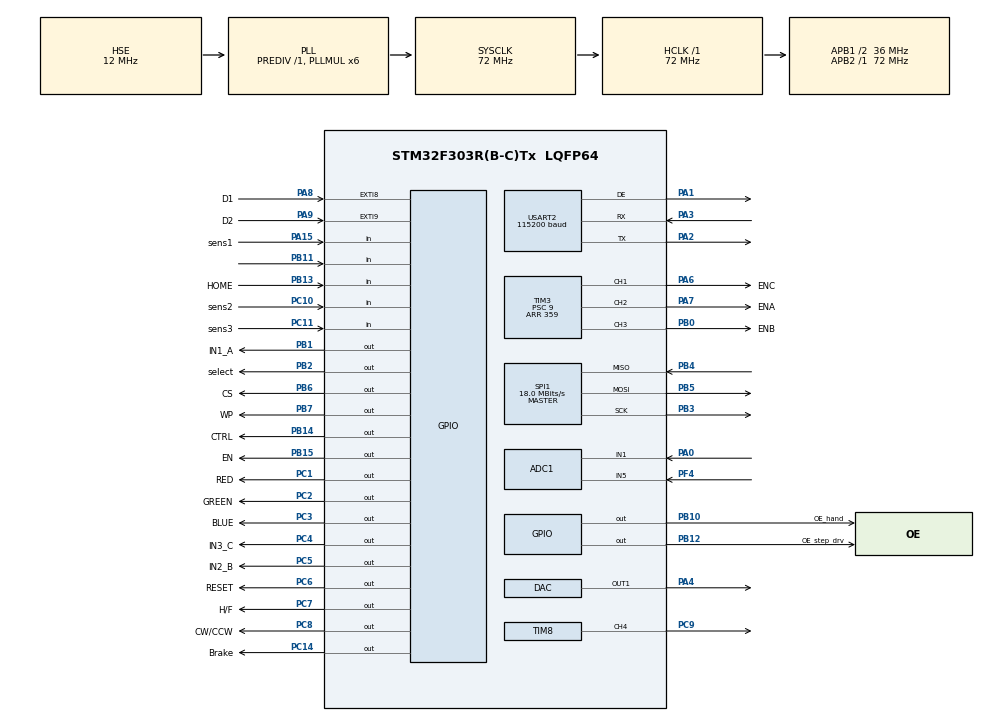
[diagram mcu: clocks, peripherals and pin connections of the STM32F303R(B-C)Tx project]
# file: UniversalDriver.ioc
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ADC1.Channel-0\#ChannelRegularConversion=ADC_CHANNEL_1
ADC1.NbrOfConversionFlag=1
ADC1.Offset-0\#ChannelRegularConversion=0
ADC1.OffsetNumber-0\#ChannelRegularConversion=ADC_OFFSET_NONE
ADC1.Rank-0\#ChannelRegularConversion=1
ADC1.SamplingTime-0\#ChannelRegularConversion=ADC_SAMPLETIME_1CYCLE_5
ADC1.master=1
FREERTOS.BinarySemaphores01=myBinarySem01,Dynamic,NULL;myBinarySem02,Dynamic,NULL;myBinarySem03,Dynamic,NULL
FREERTOS.Tasks01=mainTask,0,512,MainTask,Default,NULL,Dynamic,NULL,NULL;modBus,0,512,ModBus,Default,NULL,Dynamic,NULL,NULL
FREERTOS.configTOTAL_HEAP_SIZE=20480
Mcu.Family=STM32F3
Mcu.Name=STM32F303R(B-C)Tx
Mcu.Package=LQFP64
NVIC.EXTI9_5_IRQn=true\:5\:0\:false\:false\:true\:true\:true\:true\:true
NVIC.PriorityGroup=NVIC_PRIORITYGROUP_4
<<<<<<< HEAD
NVIC.TIM1_TRG_COM_TIM17_IRQn=true\:5\:0\:false\:false\:true\:true\:true\:true\:true
NVIC.TIM2_IRQn=true\:5\:0\:false\:false\:true\:true\:true\:true\:true
NVIC.TIM4_IRQn=true\:5\:0\:false\:false\:true\:true\:true\:true\:true
NVIC.TIM6_DAC_IRQn=true\:5\:0\:false\:false\:true\:true\:true\:true\:true
NVIC.TIM7_IRQn=true\:0\:0\:false\:false\:true\:false\:false\:true\:true
=======
NVIC.TIM1_TRG_COM_TIM17_IRQn=true\:5\:0\:false\:false\:true\:true\:true\:true
NVIC.TIM2_IRQn=true\:5\:0\:false\:false\:true\:true\:true\:true
NVIC.TIM4_IRQn=true\:5\:0\:false\:false\:true\:true\:true\:true
NVIC.TIM6_DAC_IRQn=true\:5\:0\:false\:false\:true\:true\:true\:true
NVIC.TIM7_IRQn=true\:0\:0\:false\:false\:true\:false\:false\:true
>>>>>>> main
NVIC.TimeBase=TIM7_IRQn
NVIC.TimeBaseIP=TIM7
NVIC.USART2_IRQn=true\:5\:0\:false\:false\:true\:true\:true\:true\:true
PA0.Mode=IN1-Single-Ended
PA0.Signal=ADC1_IN1
PA1.Mode=Hardware Flow Control (RS485)
PA1.Signal=USART2_DE
PA13.Mode=Serial_Wire
PA13.Signal=SYS_JTMS-SWDIO
PA14.Mode=Serial_Wire
PA14.Signal=SYS_JTCK-SWCLK
PA15.GPIO_Label=sens1
PA15.GPIO_PuPd=GPIO_PULLUP
PA15.Signal=GPIO_Input
PA2.Mode=Asynchronous
PA2.Signal=USART2_TX
PA3.Mode=Asynchronous
PA3.Signal=USART2_RX
PA4.Signal=COMP_DAC1_group
PA6.GPIO_Label=ENC
PA6.Signal=S_TIM3_CH1
PA7.GPIO_Label=ENA
PA7.Signal=S_TIM3_CH2
PA8.GPIO_Label=D1
PA8.GPIO_ModeDefaultEXTI=GPIO_MODE_IT_RISING
PA8.Signal=GPXTI8
PA9.GPIO_Label=D2
PA9.Signal=GPXTI9
PB0.GPIO_Label=ENB
PB0.Signal=S_TIM3_CH3
PB1.GPIO_Label=IN1_A
PB1.Signal=GPIO_Output
PB10.GPIO_Label=OE_hand
PB10.Signal=GPIO_Output
PB11.Signal=GPIO_Input
PB12.GPIO_Label=OE_step_drv
PB12.Signal=GPIO_Output
PB13.GPIO_Label=HOME
PB13.Signal=GPIO_Input
PB14.GPIO_Label=CTRL
PB14.Signal=GPIO_Output
PB15.GPIO_Label=EN
PB15.Signal=GPIO_Output
PB2.GPIO_Label=select
PB2.Signal=GPIO_Output
PB3.Mode=Full_Duplex_Master
PB3.Signal=SPI1_SCK
PB4.Mode=Full_Duplex_Master
PB4.Signal=SPI1_MISO
PB5.Mode=Full_Duplex_Master
PB5.Signal=SPI1_MOSI
PB6.GPIO_Label=CS
PB6.Signal=GPIO_Output
PB7.GPIO_Label=WP
PB7.Signal=GPIO_Output
PB8.Signal=CAN_RX
PB9.Signal=CAN_TX
PC1.GPIO_Label=RED
PC1.Signal=GPIO_Output
PC10.GPIO_Label=sens2
PC10.GPIO_PuPd=GPIO_PULLUP
PC10.Signal=GPIO_Input
PC11.GPIO_Label=sens3
PC11.GPIO_PuPd=GPIO_PULLUP
PC11.Signal=GPIO_Input
PC14-OSC32_IN.GPIO_Label=Brake
PC14-OSC32_IN.Signal=GPIO_Output
PC2.GPIO_Label=GREEN
PC2.Signal=GPIO_Output
PC3.GPIO_Label=BLUE
PC3.Signal=GPIO_Output
PC4.GPIO_Label=IN3_C
PC4.Signal=GPIO_Output
PC5.GPIO_Label=IN2_B
PC5.Signal=GPIO_Output
PC6.GPIO_Label=RESET
PC6.Signal=GPIO_Output
PC7.GPIO_Label=H/F
PC7.Signal=GPIO_Output
PC8.GPIO_Label=CW/CCW
PC8.Signal=GPIO_Output
PC9.Signal=S_TIM8_CH4
PF0-OSC_IN.Mode=HSE-External-Oscillator
PF0-OSC_IN.Signal=RCC_OSC_IN
PF1-OSC_OUT.Mode=HSE-External-Oscillator
PF1-OSC_OUT.Signal=RCC_OSC_OUT
PF4.Mode=IN5-Single-Ended
PF4.Signal=ADC1_IN5
ProjectManager.HeapSize=0x1000
ProjectManager.StackSize=0x400
ProjectManager.TargetToolchain=EWARM V8.32
RCC.AHBFreq_Value=72000000
RCC.APB1CLKDivider=RCC_HCLK_DIV2
RCC.APB1Freq_Value=36000000
RCC.APB1TimFreq_Value=72000000
RCC.APB2Freq_Value=72000000
RCC.APB2TimFreq_Value=72000000
RCC.CortexFreq_Value=72000000
RCC.HCLKFreq_Value=72000000
RCC.HSE_VALUE=12000000
RCC.HSI_VALUE=8000000
RCC.LSE_VALUE=32768
RCC.PLLMUL=RCC_PLL_MUL6
RCC.PLLSourceVirtual=RCC_PLLSOURCE_HSE
RCC.SYSCLKFreq_VALUE=72000000
RCC.SYSCLKSourceVirtual=RCC_SYSCLKSOURCE_PLLCLK
RCC.USBFreq_Value=72000000
RCC.Usart2ClockSelection=RCC_USART2CLKSOURCE_SYSCLK
RTC.SynchPrediv=311
SH.COMP_DAC1_group.0=DAC_OUT1,DAC_OUT1
SH.S_TIM3_CH1.0=TIM3_CH1,PWM Generation1 CH1
SH.S_TIM3_CH2.0=TIM3_CH2,PWM Generation2 CH2
SH.S_TIM3_CH3.0=TIM3_CH3,PWM Generation3 CH3
SH.S_TIM8_CH4.0=TIM8_CH4,Output Compare4 CH4
SPI1.BaudRatePrescaler=SPI_BAUDRATEPRESCALER_4
SPI1.CalculateBaudRate=18.0 MBits/s
SPI1.Direction=SPI_DIRECTION_2LINES
SPI1.Mode=SPI_MODE_MASTER
SPI1.VirtualType=VM_MASTER
TIM16.Channel=TIM_CHANNEL_1
TIM2.Period=50
TIM2.Prescaler=1
TIM3.Channel-PWM\ Generation1\ CH1=TIM_CHANNEL_1
TIM3.Channel-PWM\ Generation2\ CH2=TIM_CHANNEL_2
TIM3.Channel-PWM\ Generation3\ CH3=TIM_CHANNEL_3
TIM3.Period=359
TIM3.Prescaler=9
TIM4.Prescaler=1
TIM6.Prescaler=71
TIM8.AutoReloadPreload=TIM_AUTORELOAD_PRELOAD_ENABLE
TIM8.Channel-Output\ Compare4\ CH4=TIM_CHANNEL_4
TIM8.Channel-Output\ Compare4\ No\ Output=TIM_CHANNEL_4
TIM8.OCMode_4=TIM_OCMODE_TOGGLE
TIM8.Period=799
TIM8.Prescaler=71
TIM8.Pulse-Output\ Compare4\ CH4=100
TIM8.TIM_MasterOutputTrigger=TIM_TRGO_OC4REF
TIM8.TIM_MasterSlaveMode=TIM_MASTERSLAVEMODE_DISABLE
USART2.BaudRate=115200
USART2.VirtualMode-Asynchronous=VM_ASYNC
USART2.VirtualMode-Hardware\ Flow\ Control\ (RS485)=VM_ASYNC
VP_FREERTOS_VS_CMSIS_V1.Mode=CMSIS_V1
VP_RTC_VS_RTC_Activate.Mode=RTC_Enabled
VP_RTC_VS_RTC_Calendar.Mode=RTC_Calendar
VP_SYS_VS_tim7.Mode=TIM7
VP_TIM16_VS_ClockSourceINT.Mode=Enable_Timer
VP_TIM16_VS_no_output1.Mode=PWM Generation1 No Output
VP_TIM17_VS_ClockSourceINT.Mode=Enable_Timer
VP_TIM2_VS_ClockSourceITR.Mode=TriggerSource_ITR1
VP_TIM2_VS_ControllerModeClock.Mode=Clock Mode
VP_TIM4_VS_ClockSourceITR.Mode=TriggerSource_ITR3
VP_TIM4_VS_ControllerModeClock.Mode=Clock Mode
VP_TIM6_VS_ClockSourceINT.Mode=Enable_Timer
board=custom

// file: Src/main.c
/* USER CODE BEGIN Header */
/**
******************************************************************************
* @file           : main.c
* @brief          : Main program body
******************************************************************************
* @attention
*
* <h2><center>&copy; Copyright (c) 2020 STMicroelectronics.
* All rights reserved.</center></h2>
*
* This software component is licensed by ST under Ultimate Liberty license
* SLA0044, the "License"; You may not use this file except in compliance with
* the License. You may obtain a copy of the License at:
*                             www.st.com/SLA0044
*
******************************************************************************
*/
/* USER CODE END Header */

#include "main.h"
#include "cmsis_os.h"
#include "adc.h"
#include "dac.h"
#include "rtc.h"
#include "spi.h"
#include "tim.h"
#include "usart.h"
#include "gpio.h"

/* USER CODE BEGIN Includes */
#include "motor.hpp"
#include "flash.h"
#include "LED.h"
/* USER CODE END Includes */

/* USER CODE BEGIN PV */
extern TIM_HandleTypeDef htim3;
settings_t settings = {115200, 0x0D, 0, 0, 0, 2};
int r = 0;
                  //dac   chDac         opCount allCount freq    chFreq         accel
step_motor stepper(&hdac, DAC_CHANNEL_1, &htim2, &htim4, &htim8, TIM_CHANNEL_4, &htim6);
BLDC_motor BLDC(&htim3);

base_motor *pMotor;

led LED_S1;
led LED_S2;
led LED_S3;
/* USER CODE END PV */

void SystemClock_Config(void);
void MX_FREERTOS_Init(void);

int main(void)
{

  /* MCU Configuration--------------------------------------------------------*/

  /* Reset of all peripherals, Initializes the Flash interface and the Systick. */
  HAL_Init();

  /* Configure the system clock */
  SystemClock_Config();

  /* Initialize all configured peripherals */
  MX_GPIO_Init();
  MX_DAC_Init();
  MX_USART2_UART_Init();
  MX_ADC1_Init();
  MX_SPI1_Init();
  MX_TIM2_Init();
  MX_TIM3_Init();
  MX_TIM16_Init();
  MX_TIM17_Init();
  MX_TIM8_Init();
  MX_TIM6_Init();
  MX_TIM4_Init();
  MX_RTC_Init();
  /* USER CODE BEGIN 2 */
  Flash_ReadParams(&settings, StartSettingsAddres);

  if((settings.BaudRate == 0) | (settings.BaudRate == 0xFFFFFFFF) | (r))
    {

      settings.BaudRate = 115200;
      settings.SlaveAddress = 0x0D;
      settings.motorType = 0;
      settings.maxSpeedDiv = 2;
      settings.accel = 30;
      settings.speed = 1600;
      settings.positionX = 350;
      FLASH_WriteSettings(settings, StartSettingsAddres);
    }
   //HAL_TIM_PWM_Start_IT(&htim17, TIM_CHANNEL_1); // start PWM

   //HAL_TIM_OC_Start(&htim8, TIM_CHANNEL_4);

   pMotor = &stepper;
  /* USER CODE END 2 */

  /* Call init function for freertos objects (in freertos.c) */
  MX_FREERTOS_Init();
  /* Start scheduler */
  osKernelStart();

  /* We should never get here as control is now taken by the scheduler */
  /* Infinite loop */
   while (1)
   {

  }
}

void SystemClock_Config(void)
{
  RCC_OscInitTypeDef RCC_OscInitStruct = {0};
  RCC_ClkInitTypeDef RCC_ClkInitStruct = {0};
  RCC_PeriphCLKInitTypeDef PeriphClkInit = {0};

  /** Initializes the CPU, AHB and APB busses clocks
  */
  RCC_OscInitStruct.OscillatorType = RCC_OSCILLATORTYPE_LSI|RCC_OSCILLATORTYPE_HSE;
  RCC_OscInitStruct.HSEState = RCC_HSE_ON;
  RCC_OscInitStruct.HSEPredivValue = RCC_HSE_PREDIV_DIV1;
  RCC_OscInitStruct.HSIState = RCC_HSI_ON;
  RCC_OscInitStruct.LSIState = RCC_LSI_ON;
  RCC_OscInitStruct.PLL.PLLState = RCC_PLL_ON;
  RCC_OscInitStruct.PLL.PLLSource = RCC_PLLSOURCE_HSE;
  RCC_OscInitStruct.PLL.PLLMUL = RCC_PLL_MUL6;
  if (HAL_RCC_OscConfig(&RCC_OscInitStruct) != HAL_OK)
  {
    Error_Handler();
  }
  /** Initializes the CPU, AHB and APB busses clocks
  */
  RCC_ClkInitStruct.ClockType = RCC_CLOCKTYPE_HCLK|RCC_CLOCKTYPE_SYSCLK
                              |RCC_CLOCKTYPE_PCLK1|RCC_CLOCKTYPE_PCLK2;
  RCC_ClkInitStruct.SYSCLKSource = RCC_SYSCLKSOURCE_PLLCLK;
  RCC_ClkInitStruct.AHBCLKDivider = RCC_SYSCLK_DIV1;
  RCC_ClkInitStruct.APB1CLKDivider = RCC_HCLK_DIV2;
  RCC_ClkInitStruct.APB2CLKDivider = RCC_HCLK_DIV1;

  if (HAL_RCC_ClockConfig(&RCC_ClkInitStruct, FLASH_LATENCY_2) != HAL_OK)
  {
    Error_Handler();
  }
  PeriphClkInit.PeriphClockSelection = RCC_PERIPHCLK_USART2|RCC_PERIPHCLK_RTC
                              |RCC_PERIPHCLK_TIM8|RCC_PERIPHCLK_ADC12;
  PeriphClkInit.Usart2ClockSelection = RCC_USART2CLKSOURCE_SYSCLK;
  PeriphClkInit.Adc12ClockSelection = RCC_ADC12PLLCLK_DIV1;
  PeriphClkInit.RTCClockSelection = RCC_RTCCLKSOURCE_LSI;
  PeriphClkInit.Tim8ClockSelection = RCC_TIM8CLK_HCLK;
  if (HAL_RCCEx_PeriphCLKConfig(&PeriphClkInit) != HAL_OK)
  {
    Error_Handler();
  }
}

 /**
  * @brief  Period elapsed callback in non blocking mode
  * @note   This function is called  when TIM7 interrupt took place, inside
  * HAL_TIM_IRQHandler(). It makes a direct call to HAL_IncTick() to increment
  * a global variable "uwTick" used as application time base.
  * @param  htim : TIM handle
  * @retval None
  */
void HAL_TIM_PeriodElapsedCallback(TIM_HandleTypeDef *htim)
{
  /* USER CODE BEGIN Callback 0 */
   if(htim->Instance == TIM2){
      //HAL_TIM_OC_Stop(&htim8, TIM_CHANNEL_4);
     stepper.StepsHandler(TIM2->CNT);
   }
   if(htim->Instance == TIM4){
     //HAL_TIM_OC_Stop(&htim8, TIM_CHANNEL_4);
     stepper.StepsAllHandler(TIM4->CNT);
   }
   if(htim->Instance == TIM6){
      stepper.AccelHandler();

   }
  /* USER CODE END Callback 0 */
  if (htim->Instance == TIM7) {
    HAL_IncTick();
  }
}

void Error_Handler(void)
{
}

/************************ (C) COPYRIGHT STMicroelectronics *****END OF FILE****/

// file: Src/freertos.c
/* USER CODE BEGIN Header */
/**
******************************************************************************
* File Name          : freertos.c
* Description        : Code for freertos applications
******************************************************************************
* @attention
*
* <h2><center>&copy; Copyright (c) 2020 STMicroelectronics.
* All rights reserved.</center></h2>
*
* This software component is licensed by ST under Ultimate Liberty license
* SLA0044, the "License"; You may not use this file except in compliance with
* the License. You may obtain a copy of the License at:
*                             www.st.com/SLA0044
*
******************************************************************************
*/
#define TEMPCODE
/* USER CODE END Header */

#include "FreeRTOS.h"
#include "task.h"
#include "main.h"
#include "cmsis_os.h"

/* USER CODE BEGIN Includes */
#include "mb.h"
#include "mbport.h"
#include "motor.hpp"
#include "flash.h"
#include "LED.h"
#ifdef TEMPCODE
#include "RV_BUTTON.h"
#endif
using namespace std;
/* USER CODE END Includes */

/* USER CODE BEGIN Variables */
extern settings_t settings;
extern TIM_HandleTypeDef htim17;
//extern TIM_HandleTypeDef htim1;
extern TIM_HandleTypeDef htim8;
extern TIM_HandleTypeDef htim4;
extern DAC_HandleTypeDef hdac;
extern RTC_HandleTypeDef hrtc;

extern step_motor stepper;
extern BLDC_motor BLDC;

extern led LED_S1;
extern led LED_S2;
extern led LED_S3;

extern base_motor *pMotor;
#ifdef TEMPCODE
RV_BUTTON button1(sens1_GPIO_Port, sens1_Pin, HIGH_PULL, NORM_OPEN);
RV_BUTTON button2(sens2_GPIO_Port, sens2_Pin, HIGH_PULL, NORM_OPEN);
RV_BUTTON button3(sens3_GPIO_Port, sens3_Pin, HIGH_PULL, NORM_OPEN);
uint32_t calibration = 2;
uint32_t call = 0;
uint32_t MotionRotor = 0;

uint32_t position  = 0;
uint32_t PREposition  = 0;
uint32_t tempCounter = 0;
uint32_t pointCCW = 0;
uint32_t Motion = 0;
#endif
//переменные для дебага
int Start = false;
bool DR = false;
uint32_t steps = 200;
dir dir1 = dir::CW;
/* USER CODE END Variables */
osThreadId mainTaskHandle;
osThreadId modBusHandle;
osSemaphoreId myBinarySem01Handle;
osSemaphoreId myBinarySem02Handle;
osSemaphoreId myBinarySem03Handle;

/* USER CODE BEGIN FunctionPrototypes */
// extern "C"
/* USER CODE END FunctionPrototypes */

void MainTask(void const * argument);
void ModBus(void const * argument);

void MX_FREERTOS_Init(void); /* (MISRA C 2004 rule 8.1) */

/* GetIdleTaskMemory prototype (linked to static allocation support) */
extern "C" void vApplicationGetIdleTaskMemory( StaticTask_t **ppxIdleTaskTCBBuffer, StackType_t **ppxIdleTaskStackBuffer, uint32_t *pulIdleTaskStackSize );

/* USER CODE BEGIN GET_IDLE_TASK_MEMORY */
static StaticTask_t xIdleTaskTCBBuffer;
static StackType_t xIdleStack[configMINIMAL_STACK_SIZE];

void vApplicationGetIdleTaskMemory( StaticTask_t **ppxIdleTaskTCBBuffer, StackType_t **ppxIdleTaskStackBuffer, uint32_t *pulIdleTaskStackSize )
  {
    *ppxIdleTaskTCBBuffer = &xIdleTaskTCBBuffer;
    *ppxIdleTaskStackBuffer = &xIdleStack[0];
    *pulIdleTaskStackSize = configMINIMAL_STACK_SIZE;
    /* place for user code */
  }
/* USER CODE END GET_IDLE_TASK_MEMORY */

void MX_FREERTOS_Init(void) {

  /* Create the semaphores(s) */
  /* definition and creation of myBinarySem01 */
  osSemaphoreDef(myBinarySem01);
  myBinarySem01Handle = osSemaphoreCreate(osSemaphore(myBinarySem01), 1);

  /* definition and creation of myBinarySem02 */
  osSemaphoreDef(myBinarySem02);
  myBinarySem02Handle = osSemaphoreCreate(osSemaphore(myBinarySem02), 1);

  /* definition and creation of myBinarySem03 */
  osSemaphoreDef(myBinarySem03);
  myBinarySem03Handle = osSemaphoreCreate(osSemaphore(myBinarySem03), 1);

  /* Create the thread(s) */
  /* definition and creation of mainTask */
  osThreadDef(mainTask, MainTask, osPriorityNormal, 0, 512);
  mainTaskHandle = osThreadCreate(osThread(mainTask), NULL);

  /* definition and creation of modBus */
  osThreadDef(modBus, ModBus, osPriorityNormal, 0, 512);
  modBusHandle = osThreadCreate(osThread(modBus), NULL);

}

void MainTask(void const * argument)
{
  /* USER CODE BEGIN MainTask */

    // switch control to BLDC
    //   HAL_GPIO_WritePin(select_GPIO_Port, select_Pin, GPIO_PIN_SET);
    //   HAL_GPIO_WritePin(OE_hand_GPIO_Port, OE_hand_Pin, GPIO_PIN_SET);

    // switch control to STEP
    HAL_GPIO_WritePin(select_GPIO_Port, select_Pin, GPIO_PIN_RESET);
    HAL_GPIO_WritePin(OE_step_drv_GPIO_Port, OE_step_drv_Pin, GPIO_PIN_SET);
    HAL_GPIO_WritePin(OE_hand_GPIO_Port, OE_hand_Pin, GPIO_PIN_SET);
    stepper.Init();

    //HAL_TIM_Encoder_Start_IT(&htim1, TIM_CHANNEL_ALL);
    //pMotor->goTo(10, dir::CW);
    //pMotor->StepsHandler();
    LED_S1.Init(GREEN_GPIO_Port, GREEN_Pin);
    LED_S2.Init(RED_GPIO_Port, RED_Pin);
    LED_S3.Init(BLUE_GPIO_Port, BLUE_Pin);

    LED_S1.setParameters(mode::ON_OFF);
    LED_S2.setParameters(mode::ON_OFF);
    LED_S3.setParameters(mode::ON_OFF);

    position = HAL_RTCEx_BKUPRead(&hrtc, RTC_BKP_DR0);
    pointCCW = HAL_RTCEx_BKUPRead(&hrtc, RTC_BKP_DR1);

//    if((position != 0) && (pointCCW != 0)){ // если этот регистр не пуст то каллибровка не требуется
//      calibration = 0;
//      LED_S3.LEDon();
//      PREposition = position;
//      stepper.MaxSpeed = stepper.MaxSpeedConst*settings.maxSpeedDiv;
//      stepper.MinSpeed = stepper.MinSpeedConst*(settings.maxSpeedDiv/2);
//    }else{
//      calibration = 3;
//    }

    uint32_t tickcount = osKernelSysTick();// переменная для точной задержки
    /* Infinite loop */
    for(;;)
      {
#ifdef TEMPCODE
        button1.tick();
//        button2.tick();
//        button3.tick();
        // pMotor->goTo_twoSteps(settings.positionX, dir::CCW, stepper.MaxSpeedConst, stepper.MaxSpeedConst*10);
        LED_S1.poll();
        LED_S2.poll();
        LED_S3.poll();

        if ((button1.isRelease() && (MotionRotor == 0)) || (call && (MotionRotor == 0))) {
          call = 0;
          if(calibration == 0){
            stepper.MaxSpeed = stepper.MaxSpeedConst*10;
            stepper.MinSpeed = stepper.MinSpeedConst*2;

            LED_S1.LEDon();
            LED_S2.LEDoff();
            LED_S3.LEDoff();

            if(HAL_GPIO_ReadPin(D1_GPIO_Port,D1_Pin)){
              HAL_RTCEx_BKUPWrite(&hrtc, RTC_BKP_DR1, 1);
              tempCounter = 0;
              htim4.Instance->CNT = 0;
              MotionRotor = 1;
              calibration = 1;
              pMotor->goTo_twoSteps(settings.positionX, dir::CCW, stepper.MaxSpeedConst, stepper.MaxSpeedConst*10);
            }
            else if(HAL_GPIO_ReadPin(D2_GPIO_Port,D2_Pin)){
              HAL_RTCEx_BKUPWrite(&hrtc, RTC_BKP_DR1, 2);
              MotionRotor = 1;
              pMotor->goTo(10000, dir::CW);
            }
            else{
              MotionRotor = 1;
              pMotor->goTo(10000, dir::CW);
            }
          }
          else if(calibration == 2){
            calibration = 0;
            stepper.MaxSpeed = stepper.MaxSpeedConst*10;
            stepper.MinSpeed = stepper.MinSpeedConst*2;

            LED_S1.LEDoff();
            LED_S2.LEDon();
            LED_S3.LEDoff();

            if(HAL_GPIO_ReadPin(D1_GPIO_Port,D1_Pin)){
              HAL_RTCEx_BKUPWrite(&hrtc, RTC_BKP_DR1, 1);
              tempCounter = 0;
              htim4.Instance->CNT = 0;
              MotionRotor = 1;
              calibration = 1;
              pMotor->goTo_twoSteps(settings.positionX, dir::CCW, stepper.MaxSpeedConst, stepper.MaxSpeedConst*10);
            }
            else if(HAL_GPIO_ReadPin(D2_GPIO_Port,D2_Pin)){
              HAL_RTCEx_BKUPWrite(&hrtc, RTC_BKP_DR1, 2);
              MotionRotor = 1;
              pMotor->goTo(10000, dir::CW);
            }
            else{
              MotionRotor = 1;
              pMotor->goTo(10000, dir::CW);
            }
          }

        }

        if(Motion){
          Motion = 0;
          position = HAL_RTCEx_BKUPRead(&hrtc, RTC_BKP_DR0);
          pointCCW = HAL_RTCEx_BKUPRead(&hrtc, RTC_BKP_DR1);

          if(HAL_GPIO_ReadPin(D1_GPIO_Port,D1_Pin)){
            if(pointCCW != 1){
              HAL_RTCEx_BKUPWrite(&hrtc, RTC_BKP_DR1, 1);
              pointCCW = 1;
            }
          }
          else if(HAL_GPIO_ReadPin(D2_GPIO_Port,D2_Pin)){
            if(pointCCW != 2){
              HAL_RTCEx_BKUPWrite(&hrtc, RTC_BKP_DR1, 2);
              pointCCW = 2;
            }
          }

          if(pointCCW == 1){
            pMotor->goTo(position, dir::CCW);
          }else if(pointCCW == 2){
            pMotor->goTo(position, dir::CW);
          }
        }

//        if(HAL_RTCEx_BKUPRead(&hrtc, RTC_BKP_DR0) != 0x02){
//          HAL_RTCEx_BKUPWrite(&hrtc, RTC_BKP_DR0, 0x02);
//        }

#endif

        osDelayUntil(&tickcount, 1); // задача будет вызываься ровро через 1 милисекунду
        //taskYIELD();
        //osDelay(1);
      }
  /* USER CODE END MainTask */
}

void ModBus(void const * argument)
{
  /* USER CODE BEGIN ModBus */
    /* Infinite loop */
    eMBErrorCode eStatus = eMBInit( MB_RTU, settings.SlaveAddress, 3, settings.BaudRate, MB_PAR_NONE );
    eStatus = eMBEnable();
    //HAL_TIM_Base_Start_IT(&htim17);
    for(;;)
      {
        eMBPoll();
        taskYIELD();
      }
  /* USER CODE END ModBus */
}

/* USER CODE BEGIN Application */
/*description https://www.freemodbus.org/api/group__modbus__registers.html*/
//0x04
eMBErrorCode
eMBRegInputCB( UCHAR * pucRegBuffer, USHORT usAddress, USHORT usNRegs )
  {
    eMBErrorCode    eStatus = MB_ENOERR;

    return eStatus;
  }
//0x03 0x06 0x10
eMBErrorCode
eMBRegHoldingCB( UCHAR * pucRegBuffer, USHORT usAddress, USHORT usNRegs, eMBRegisterMode eMode )
  {
    //uint8_t CMD[5] = {0};
    volatile HAL_StatusTypeDef status;

    if(usAddress == 0 ){}
    else{usAddress--;}

    eMBErrorCode    eStatus = MB_ENOERR;

    switch (eMode)
      {
       case MB_REG_READ:
        {
          switch (usAddress)
            {
             case 0: //  Stop/Start
              {

                break;
              }
             case 1: // Dir
              {

                break;
              }
             case 2: //Status start/stop
              {
                *(pucRegBuffer) = (UCHAR)((settings.positionX & 0xff00) >> 8);
                *(pucRegBuffer+1) = (UCHAR)(settings.positionX & 0xff);
                break;
              }
             case 3: //Status Dir
              {

                break;
              }
             case 4: // RPM
              {

                break;
              }
             case 5: //
              {	*(pucRegBuffer) = 0;
                *(pucRegBuffer+1) = (UCHAR)pointCCW;
                break;
              }
             case 6: //
              {
                *(pucRegBuffer) = 0;
                *(pucRegBuffer+1) = (UCHAR)pointCCW;
                break;
              }
             case 7: //
              {
                break;
              }
             case 8:
              {

                break;
              }
             case 9:
              {

                break;
              }
             case 10:
              {

                break;
              }

             default:
              {
                eStatus = MB_ENOREG;
                break;
              }
            }

          break;
        }
       case MB_REG_WRITE:
        {

          switch (usAddress)
            {
             case 0: //  Stop/Start
              {
                if(!*(pucRegBuffer+1)){
                  pMotor->stop();
                  //osDelay(10);
                  pMotor->removeBreak(false);
                }else{
                  pMotor->removeBreak(true);
                  //osDelay(100);
                  pMotor->start();

                }
                break;
              }
             case 1: // Dir
              {
                if(!*(pucRegBuffer+1)){
                  pMotor->stop();
                  //osDelay(100);
                  pMotor->SetDirection(dir::CW);
                  pMotor->start();
                }else{
                  pMotor->stop();
                  //osDelay(100);
                  pMotor->SetDirection(dir::CCW);
                  pMotor->start();
                }
                break;
              }
             case 2:
              {
                settings.positionX = 0;
                settings.positionX |= *(pucRegBuffer) << 8;
                settings.positionX |= *(pucRegBuffer+1);
                FLASH_WriteSettings(settings, StartSettingsAddres);
                break;
              }
             case 3:
              {
                int tmp = 0;

                tmp |= *(pucRegBuffer) << 8;
                tmp |= *(pucRegBuffer+1);
                pMotor->SetAcceleration(tmp);
                break;
              }
             case 4: //
              {
                pMotor->setSpeed(*(pucRegBuffer+1));
                break;
              }
             case 5: //
              {
                if(Motion == 0){
                  Motion = 1;
                }
                break;
              }
             case 6: //
              {

                break;
              }
             case 7: //
              {
                if(*(pucRegBuffer+1)){
                  call = 1;
                }
                break;
              }
             case 8:
              {
                FLASH_WriteSettings(settings, StartSettingsAddres);
                break;
              }
             case 9:
              {
                settings.BaudRate = ((*(pucRegBuffer)<<8) | (*(pucRegBuffer+1)))*10;
                break;
              }
             case 10:
              {
                settings.SlaveAddress = *(pucRegBuffer+1);
                break;
              }
             default:
              {
                eStatus = MB_ENOREG;
                break;
              }
            }
          break;
        }
       default:
        {
          eStatus = MB_EINVAL;
          break;
        }
      }

    return eStatus;
  }

// 0x01 0x0f 0x05
eMBErrorCode
eMBRegCoilsCB( UCHAR * pucRegBuffer, USHORT usAddress, USHORT usNCoils, eMBRegisterMode eMode )
  {
    return MB_ENOREG;
  }
//0x02
eMBErrorCode
eMBRegDiscreteCB( UCHAR * pucRegBuffer, USHORT usAddress, USHORT usNDiscrete )
  {
    return MB_ENOREG;
  }

/******************************************************************************************************
Handlers
******************************************************************************************************/

void HAL_GPIO_EXTI_Callback(uint16_t GPIO_Pin){
  if((GPIO_Pin == GPIO_PIN_9) | (GPIO_Pin == GPIO_PIN_8)){

    if((calibration == 0) && (GPIO_Pin == GPIO_PIN_8)){
      pMotor->stop();
      LED_S1.LEDoff();
      LED_S2.LEDon();
      LED_S3.LEDoff();
      calibration = 1; //дошли до первого сенсора
      // сброс значений
      tempCounter = 0;
      htim4.Instance->CNT = 0;
      pMotor->goTo_twoSteps(settings.positionX, dir::CCW, stepper.MaxSpeedConst, stepper.MaxSpeedConst*10);
    }
    else if((calibration == 1) && (GPIO_Pin == GPIO_PIN_9)){
      pMotor->stop();
      MotionRotor = 0;
      LED_S1.LEDoff();
      LED_S2.LEDoff();
      LED_S3.LEDon();
      calibration = 2; //дошли до второго сенсора
      tempCounter =  stepper.TimCountAllSteps->Instance->CNT + settings.positionX;
      HAL_RTCEx_BKUPWrite(&hrtc, RTC_BKP_DR0, tempCounter);
      HAL_RTCEx_BKUPWrite(&hrtc, RTC_BKP_DR1, 2);
      stepper.MaxSpeed = stepper.MaxSpeedConst;
      stepper.MinSpeed = stepper.MinSpeedConst;

    }
    else if(calibration == 2){
      pMotor->stop();
      if(GPIO_Pin == GPIO_PIN_8){
        pointCCW = 1;
        HAL_RTCEx_BKUPWrite(&hrtc, RTC_BKP_DR1, 1);
        pMotor->stop();
        MotionRotor = 0;
      }else if(GPIO_Pin == GPIO_PIN_9){
        pointCCW = 2;
        HAL_RTCEx_BKUPWrite(&hrtc, RTC_BKP_DR1, 2);
        pMotor->stop();
        MotionRotor = 0;
      }
    }

  }

  if((GPIO_Pin == sens1_Pin)|(GPIO_Pin == sens2_Pin)){
    BLDC.SensHandler();
  }
//  if((GPIO_Pin == zeroD_Pin) & (DR)){
//    HAL_TIM_OC_Stop(&htim8, TIM_CHANNEL_4);
//  }
}

/* USER CODE END Application */

/************************ (C) COPYRIGHT STMicroelectronics *****END OF FILE****/
